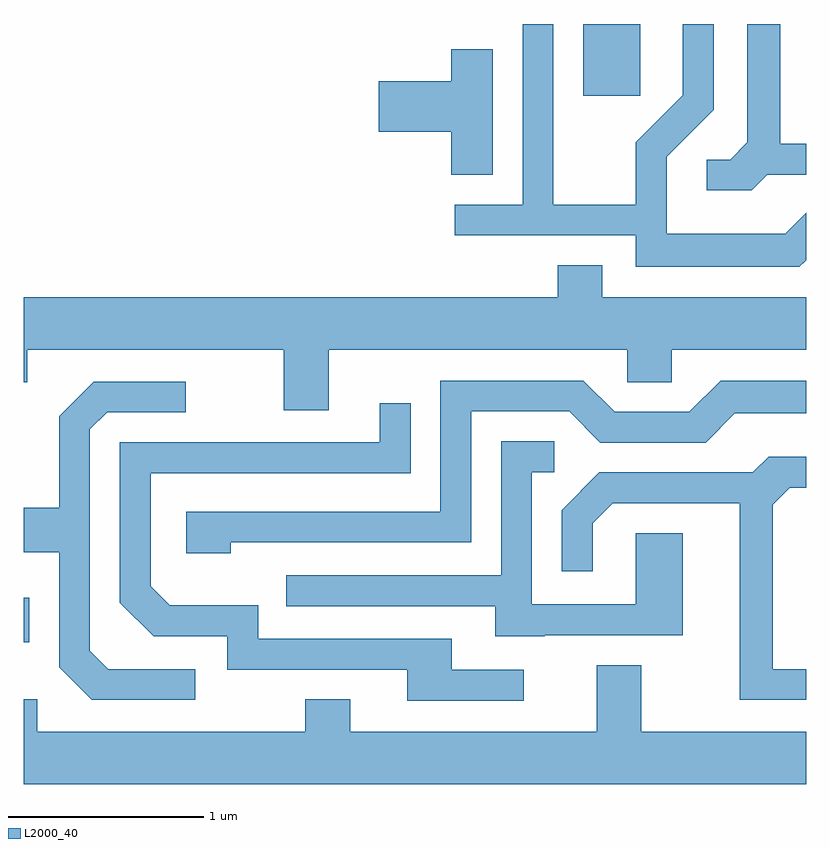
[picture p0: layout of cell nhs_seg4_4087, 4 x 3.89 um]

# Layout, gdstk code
import gdstk
lib = gdstk.Library(unit=1e-6, precision=1e-09)
def R(c, l, rs):  # rectangles x0, y0, x1, y1
    for r in rs: c.add(gdstk.rectangle(r[:2], r[2:], *l))
def P(c, l, *ps):  # polygons
    for p in ps: c.add(gdstk.Polygon(p, *l))
L2000_40 = (2000, 40)

nhs_seg4_4087 = lib.new_cell('nhs_seg4_4087')
R(nhs_seg4_4087, L2000_40, [(305.611,1268.821,305.639,1269.049), (308.471,1271.616,308.764,1271.982)])
P(nhs_seg4_4087, L2000_40, [(309.412,1271.211),(309.611,1271.211),(309.611,1271.369),(309.479,1271.369),(309.479,1271.982),(309.311,1271.982),(309.311,1271.377),(309.224,1271.289),(309.103,1271.289),(309.103,1271.131),(309.332,1271.131)],
  [(309.611,1270.775),(309.611,1271.016),(309.504,1270.909),(308.899,1270.909),(308.899,1271.304),(309.139,1271.544),(309.139,1271.982),(308.981,1271.982),(308.981,1271.617),(308.741,1271.377),(308.741,1271.059),(308.319,1271.059),(308.319,1271.982),(308.161,1271.982),(308.161,1271.059),(307.813,1271.059),(307.813,1270.901),(308.741,1270.901),(308.741,1270.741),(309.577,1270.741)],
  [(308.009,1271.854),(307.796,1271.854),(307.796,1271.689),(307.426,1271.689),(307.426,1271.431),(307.796,1271.431),(307.796,1271.211),(308.009,1271.211)],
  [(307.169,1270.316),(308.696,1270.316),(308.696,1270.151),(308.924,1270.151),(308.924,1270.316),(309.611,1270.316),(309.611,1270.584),(308.569,1270.584),(308.569,1270.749),(308.341,1270.749),(308.341,1270.584),(305.611,1270.584),(305.611,1270.151),(305.629,1270.151),(305.629,1270.316),(306.941,1270.316),(306.941,1270.006),(307.169,1270.006)],
  [(306.669,1269.331),(307.899,1269.331),(307.899,1270.001),(308.399,1270.001),(308.559,1269.841),(309.097,1269.841),(309.247,1269.991),(309.611,1269.991),(309.611,1270.159),(309.174,1270.159),(309.014,1269.999),(308.632,1269.999),(308.472,1270.159),(307.741,1270.159),(307.741,1269.489),(306.441,1269.489),(306.441,1269.276),(306.669,1269.276)],
  [(306.488,1268.684),(306.042,1268.684),(305.949,1268.777),(305.949,1269.909),(306.037,1269.996),(306.438,1269.996),(306.438,1270.154),(305.969,1270.154),(305.791,1269.977),(305.791,1269.509),(305.611,1269.509),(305.611,1269.281),(305.791,1269.281),(305.791,1268.694),(305.959,1268.526),(306.488,1268.526)],
  [(308.168,1268.679),(307.799,1268.679),(307.799,1268.839),(306.809,1268.839),(306.809,1269.009),(306.357,1269.009),(306.259,1269.107),(306.259,1269.686),(307.589,1269.686),(307.589,1270.043),(307.431,1270.043),(307.431,1269.844),(306.101,1269.844),(306.101,1269.024),(306.274,1268.851),(306.651,1268.851),(306.651,1268.681),(307.571,1268.681),(307.571,1268.521),(308.168,1268.521)],
  [(308.275,1268.856),(308.979,1268.856),(308.979,1269.379),(308.741,1269.379),(308.741,1269.014),(308.209,1269.014),(308.209,1269.691),(308.323,1269.691),(308.323,1269.849),(308.051,1269.849),(308.051,1269.164),(306.953,1269.164),(306.953,1269.006),(308.021,1269.006),(308.021,1268.851),(308.275,1268.851)],
  [(309.611,1268.684),(309.439,1268.684),(309.439,1269.524),(309.527,1269.611),(309.611,1269.611),(309.611,1269.769),(309.419,1269.769),(309.339,1269.689),(308.554,1269.689),(308.361,1269.497),(308.361,1269.183),(308.519,1269.183),(308.519,1269.429),(308.622,1269.531),(309.271,1269.531),(309.271,1268.526),(309.611,1268.526)],
  [(309.611,1268.364),(308.769,1268.364),(308.769,1268.704),(308.541,1268.704),(308.541,1268.364),(307.279,1268.364),(307.279,1268.529),(307.051,1268.529),(307.051,1268.364),(305.679,1268.364),(305.679,1268.529),(305.611,1268.529),(305.611,1268.096),(309.611,1268.096)])

lib.write_gds('nhs_seg4_4087.gds')
